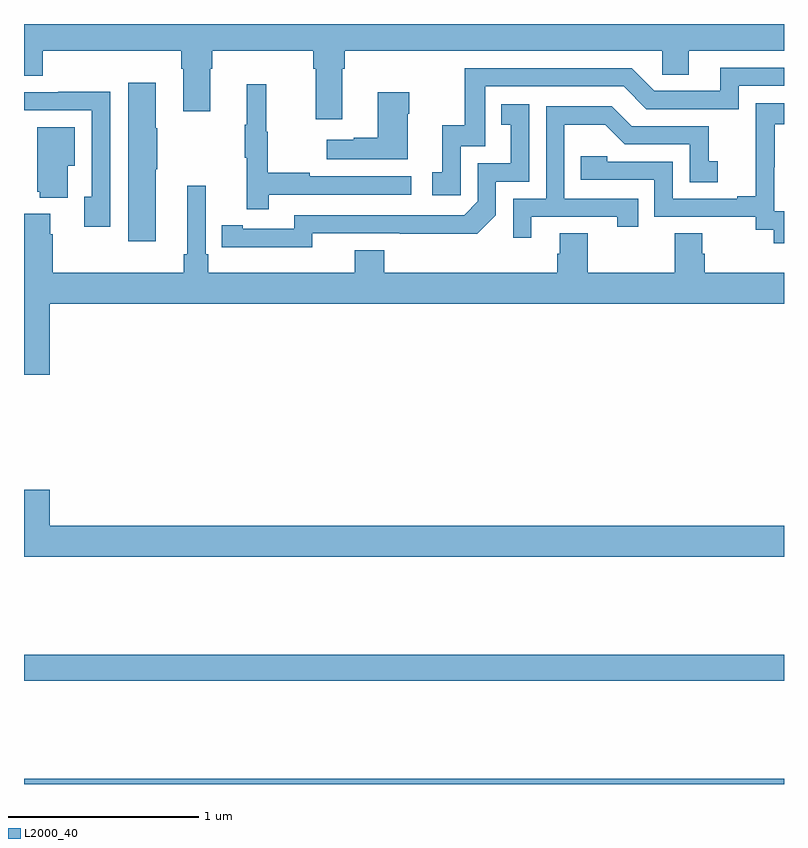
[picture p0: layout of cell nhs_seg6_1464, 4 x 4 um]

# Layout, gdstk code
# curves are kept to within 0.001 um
import gdstk
lib = gdstk.Library(unit=1e-6, precision=1e-09)
def R(c, l, rs):  # rectangles x0, y0, x1, y1
    for r in rs: c.add(gdstk.rectangle(r[:2], r[2:], *l))
def P(c, l, *ps):  # polygons
    for p in ps: c.add(gdstk.Polygon(p, *l))
L2000_40 = (2000, 40)

nhs_seg6_1464 = lib.new_cell('nhs_seg6_1464')
R(nhs_seg6_1464, L2000_40, [(201,919.5,205,919.528), (201,920.044,205,920.18)])
P(nhs_seg6_1464, L2000_40, [(202.675,923.264),(202.688,923.264),(202.688,923.36),(204.36,923.36),(204.36,923.233),(204.499,923.233),(204.499,923.36),(205,923.36),(205,923.5),(201,923.5),(201,923.227),(201.098,923.227),(201.098,923.36),(201.827,923.36),(201.827,923.264),(201.839,923.264),(201.839,923.04),(201.979,923.04),(201.979,923.264),(201.992,923.264),(201.992,923.36),(202.523,923.36),(202.523,923.264),(202.535,923.264),(202.535,922.998),(202.675,922.998)],
  [(203.298,922.857),(203.427,922.857),(203.427,923.172),(204.156,923.172),(204.276,923.052),(204.762,923.052),(204.762,923.175),(205,923.175),(205,923.271),(204.665,923.271),(204.665,923.148),(204.318,923.148),(204.198,923.268),(203.319,923.268),(203.319,922.966),(203.201,922.966),(203.201,922.719),(203.148,922.719),(203.148,922.599),(203.298,922.599)],
  [(201.694,922.735),(201.702,922.735),(201.702,922.952),(201.694,922.952),(201.694,923.191),(201.548,923.191),(201.548,922.356),(201.694,922.356)],
  [(202.289,922.602),(203.038,922.602),(203.038,922.698),(202.505,922.698),(202.505,922.718),(202.282,922.718),(202.282,922.932),(202.274,922.932),(202.274,923.182),(202.172,923.182),(202.172,922.969),(202.161,922.969),(202.161,922.795),(202.172,922.795),(202.172,922.524),(202.289,922.524)],
  [(201.453,923.144),(201.181,923.144),(201.181,923.142),(201,923.142),(201,923.046),(201.357,923.046),(201.357,922.59),(201.317,922.59),(201.317,922.434),(201.453,922.434)],
  [(203.02,923.027),(203.028,923.027),(203.028,923.14),(202.862,923.14),(202.862,922.901),(202.736,922.901),(202.736,922.891),(202.593,922.891),(202.593,922.787),(203.02,922.787)],
  [(205,922.515),(204.948,922.515),(204.948,922.745),(204.95,922.745),(204.95,922.973),(205,922.973),(205,923.083),(204.85,923.083),(204.85,922.877),(204.851,922.877),(204.851,922.594),(204.755,922.594),(204.755,922.581),(204.414,922.581),(204.414,922.776),(204.069,922.776),(204.069,922.803),(203.929,922.803),(203.929,922.68),(204.318,922.68),(204.318,922.485),(204.852,922.485),(204.852,922.417),(204.945,922.417),(204.945,922.347),(205,922.347)],
  [(202.518,922.398),(203.386,922.397),(203.484,922.494),(203.484,922.671),(203.658,922.671),(203.658,923.077),(203.512,923.077),(203.512,922.971),(203.561,922.971),(203.561,922.767),(203.388,922.767),(203.388,922.566),(203.316,922.494),(202.422,922.494),(202.422,922.422),(202.15,922.422),(202.15,922.442),(202.042,922.442),(202.042,922.326),(202.518,922.325)],
  [(203.671,922.485),(204.122,922.485),(204.122,922.434),(204.233,922.434),(204.233,922.581),(203.844,922.581),(203.844,922.97),(204.058,922.97),(204.162,922.866),(204.504,922.866),(204.504,922.668),(204.652,922.668),(204.652,922.777),(204.603,922.777),(204.603,922.962),(204.199,922.962),(204.094,923.067),(203.748,923.067),(203.748,922.581),(203.574,922.581),(203.574,922.374),(203.671,922.374)],
  [(201.229,922.754),(201.268,922.754),(201.268,922.957),(201.071,922.957),(201.071,922.617),(201.083,922.617),(201.083,922.586),(201.229,922.586)],
  [(201.136,922.028),(205,922.028),(205,922.192),(204.584,922.192),(204.584,922.29),(204.571,922.29),(204.571,922.4),(204.424,922.4),(204.424,922.192),(203.967,922.192),(203.967,922.4),(203.819,922.4),(203.819,922.29),(203.807,922.29),(203.807,922.192),(202.895,922.192),(202.895,922.309),(202.742,922.309),(202.742,922.192),(201.971,922.192),(201.971,922.288),(201.957,922.288),(201.957,922.648),(201.86,922.648),(201.86,922.288),(201.841,922.288),(201.841,922.192),(201.152,922.192),(201.152,922.394),(201.139,922.394),(201.139,922.501),(201,922.501),(201,921.654),(201.136,921.654)],
  [(205,920.86),(201.136,920.86),(201.136,921.049),(201,921.049),(201,920.696),(205,920.696)])

lib.write_gds('nhs_seg6_1464.gds')
